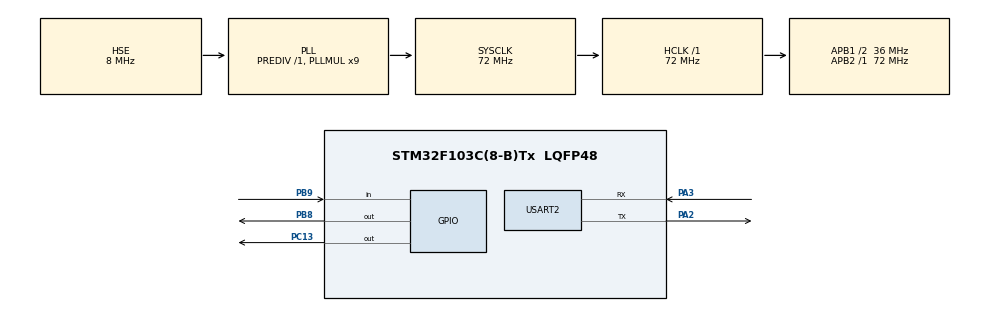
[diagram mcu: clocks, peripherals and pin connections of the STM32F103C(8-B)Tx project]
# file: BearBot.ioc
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Mcu.Family=STM32F1
Mcu.Name=STM32F103C(8-B)Tx
Mcu.Package=LQFP48
NVIC.PriorityGroup=NVIC_PRIORITYGROUP_4
PA13.Mode=Serial_Wire
PA13.Signal=SYS_JTMS-SWDIO
PA14.Mode=Serial_Wire
PA14.Signal=SYS_JTCK-SWCLK
PA2.Mode=Asynchronous
PA2.Signal=USART2_TX
PA3.Mode=Asynchronous
PA3.Signal=USART2_RX
PA8.Signal=S_TIM1_CH1
PB8.Signal=GPIO_Output
PB9.Signal=GPIO_Input
PC13-TAMPER-RTC.Signal=GPIO_Output
PD0-OSC_IN.Mode=HSE-External-Oscillator
PD0-OSC_IN.Signal=RCC_OSC_IN
PD1-OSC_OUT.Mode=HSE-External-Oscillator
PD1-OSC_OUT.Signal=RCC_OSC_OUT
ProjectManager.HeapSize=0x200
ProjectManager.StackSize=0x400
ProjectManager.TargetToolchain=STM32CubeIDE
RCC.AHBFreq_Value=72000000
RCC.APB1CLKDivider=RCC_HCLK_DIV2
RCC.APB1Freq_Value=36000000
RCC.APB1TimFreq_Value=72000000
RCC.APB2Freq_Value=72000000
RCC.APB2TimFreq_Value=72000000
RCC.HCLKFreq_Value=72000000
RCC.PLLMUL=RCC_PLL_MUL9
RCC.PLLSourceVirtual=RCC_PLLSOURCE_HSE
RCC.SYSCLKFreq_VALUE=72000000
RCC.SYSCLKSource=RCC_SYSCLKSOURCE_PLLCLK
RCC.USBFreq_Value=72000000
SH.S_TIM1_CH1.0=TIM1_CH1
TIM1.Period=0xffff-1
TIM1.Prescaler=72 - 1
USART2.VirtualMode=VM_ASYNC
VP_TIM1_VS_ClockSourceINT.Mode=Internal
board=custom

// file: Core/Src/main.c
/* USER CODE BEGIN Header */
/**
  ******************************************************************************
  * @file           : main.c
  * @brief          : Main program body
  ******************************************************************************
  * @attention
  *
  * Copyright (c) 2026 STMicroelectronics.
  * All rights reserved.
  *
  * This software is licensed under terms that can be found in the LICENSE file
  * in the root directory of this software component.
  * If no LICENSE file comes with this software, it is provided AS-IS.
  *
  ******************************************************************************
  */
/* USER CODE END Header */
#include "main.h"

TIM_HandleTypeDef htim1;

UART_HandleTypeDef huart2;

/* USER CODE BEGIN PV */
#define TRIG_PIN GPIO_PIN_9
#define TRIG_PORT GPIOB
#define ECHO_PIN GPIO_PIN_8
#define ECHO_PORT GPIOB
#define LED_PIN GPIO_PIN_13
#define LED_PORT GPIOC
#define IR_PIN GPIO_PIN_11
#define IR_PORT GPIOB
uint32_t pMillis;
uint32_t Value1 = 0;
uint32_t Value2 = 1;
uint16_t Distance  = 0;
/* USER CODE END PV */

void SystemClock_Config(void);
static void MX_GPIO_Init(void);
static void MX_TIM1_Init(void);
static void MX_USART2_UART_Init(void);

int main(void)
{

  /* MCU Configuration--------------------------------------------------------*/

  /* Reset of all peripherals, Initializes the Flash interface and the Systick. */
  HAL_Init();

  /* Configure the system clock */
  SystemClock_Config();

  /* Initialize all configured peripherals */
  MX_GPIO_Init();
  MX_TIM1_Init();
  MX_USART2_UART_Init();
  /* USER CODE BEGIN 2 */
  HAL_TIM_Base_Start(&htim1);
  HAL_GPIO_WritePin(TRIG_PORT, TRIG_PIN, GPIO_PIN_RESET);
  uint8_t val = 0;
  HAL_UART_Transmit(&huart2, &val, 1, HAL_MAX_DELAY);

  /* USER CODE END 2 */

  /* Infinite loop */
  while (1)
  {

    /* USER CODE BEGIN 3 */
	  HAL_GPIO_WritePin(TRIG_PORT, TRIG_PIN, GPIO_PIN_SET);  // pull the TRIG pin HIGH
	  __HAL_TIM_SET_COUNTER(&htim1, 0);
	  while (__HAL_TIM_GET_COUNTER (&htim1) < 10);  // wait for 10 us
	  HAL_GPIO_WritePin(TRIG_PORT, TRIG_PIN, GPIO_PIN_RESET);  // pull the TRIG pin low

	  pMillis = __HAL_TIM_GET_COUNTER (&htim1); // used this to avoid infinite while loop  (for timeout)
	  // wait for the echo pin to go high
	  while (!(HAL_GPIO_ReadPin (ECHO_PORT, ECHO_PIN)) && pMillis + 3000 >  __HAL_TIM_GET_COUNTER (&htim1));
	  Value1 = __HAL_TIM_GET_COUNTER (&htim1);

	  pMillis = HAL_GetTick(); // used this to avoid infinite while loop (for timeout)
	  // wait for the echo pin to go low
	  while ((HAL_GPIO_ReadPin (ECHO_PORT, ECHO_PIN)) && pMillis + 5000 > __HAL_TIM_GET_COUNTER (&htim1));
	  Value2 = __HAL_TIM_GET_COUNTER (&htim1);

	  Distance = (Value2-Value1)* 0.034/2;
	  HAL_GPIO_TogglePin(LED_PORT, LED_PIN);

	  HAL_Delay(500);
  }
  /* USER CODE END 3 */
}

void SystemClock_Config(void)
{
  RCC_OscInitTypeDef RCC_OscInitStruct = {0};
  RCC_ClkInitTypeDef RCC_ClkInitStruct = {0};

  /** Initializes the RCC Oscillators according to the specified parameters
  * in the RCC_OscInitTypeDef structure.
  */
  RCC_OscInitStruct.OscillatorType = RCC_OSCILLATORTYPE_HSE;
  RCC_OscInitStruct.HSEState = RCC_HSE_ON;
  RCC_OscInitStruct.HSEPredivValue = RCC_HSE_PREDIV_DIV1;
  RCC_OscInitStruct.HSIState = RCC_HSI_ON;
  RCC_OscInitStruct.PLL.PLLState = RCC_PLL_ON;
  RCC_OscInitStruct.PLL.PLLSource = RCC_PLLSOURCE_HSE;
  RCC_OscInitStruct.PLL.PLLMUL = RCC_PLL_MUL9;
  if (HAL_RCC_OscConfig(&RCC_OscInitStruct) != HAL_OK)
  {
    Error_Handler();
  }

  /** Initializes the CPU, AHB and APB buses clocks
  */
  RCC_ClkInitStruct.ClockType = RCC_CLOCKTYPE_HCLK|RCC_CLOCKTYPE_SYSCLK
                              |RCC_CLOCKTYPE_PCLK1|RCC_CLOCKTYPE_PCLK2;
  RCC_ClkInitStruct.SYSCLKSource = RCC_SYSCLKSOURCE_PLLCLK;
  RCC_ClkInitStruct.AHBCLKDivider = RCC_SYSCLK_DIV1;
  RCC_ClkInitStruct.APB1CLKDivider = RCC_HCLK_DIV2;
  RCC_ClkInitStruct.APB2CLKDivider = RCC_HCLK_DIV1;

  if (HAL_RCC_ClockConfig(&RCC_ClkInitStruct, FLASH_LATENCY_2) != HAL_OK)
  {
    Error_Handler();
  }
}

static void MX_TIM1_Init(void)
{

  TIM_ClockConfigTypeDef sClockSourceConfig = {0};
  TIM_MasterConfigTypeDef sMasterConfig = {0};

  htim1.Instance = TIM1;
  htim1.Init.Prescaler = 72 - 1;
  htim1.Init.CounterMode = TIM_COUNTERMODE_UP;
  htim1.Init.Period = 0xffff-1;
  htim1.Init.ClockDivision = TIM_CLOCKDIVISION_DIV1;
  htim1.Init.RepetitionCounter = 0;
  htim1.Init.AutoReloadPreload = TIM_AUTORELOAD_PRELOAD_DISABLE;
  if (HAL_TIM_Base_Init(&htim1) != HAL_OK)
  {
    Error_Handler();
  }
  sClockSourceConfig.ClockSource = TIM_CLOCKSOURCE_INTERNAL;
  if (HAL_TIM_ConfigClockSource(&htim1, &sClockSourceConfig) != HAL_OK)
  {
    Error_Handler();
  }
  sMasterConfig.MasterOutputTrigger = TIM_TRGO_RESET;
  sMasterConfig.MasterSlaveMode = TIM_MASTERSLAVEMODE_DISABLE;
  if (HAL_TIMEx_MasterConfigSynchronization(&htim1, &sMasterConfig) != HAL_OK)
  {
    Error_Handler();
  }

}

static void MX_USART2_UART_Init(void)
{

  huart2.Instance = USART2;
  huart2.Init.BaudRate = 115200;
  huart2.Init.WordLength = UART_WORDLENGTH_8B;
  huart2.Init.StopBits = UART_STOPBITS_1;
  huart2.Init.Parity = UART_PARITY_NONE;
  huart2.Init.Mode = UART_MODE_TX_RX;
  huart2.Init.HwFlowCtl = UART_HWCONTROL_NONE;
  huart2.Init.OverSampling = UART_OVERSAMPLING_16;
  if (HAL_UART_Init(&huart2) != HAL_OK)
  {
    Error_Handler();
  }

}

static void MX_GPIO_Init(void)
{
  GPIO_InitTypeDef GPIO_InitStruct = {0};

  /* GPIO Ports Clock Enable */
  __HAL_RCC_GPIOC_CLK_ENABLE();
  __HAL_RCC_GPIOD_CLK_ENABLE();
  __HAL_RCC_GPIOA_CLK_ENABLE();
  __HAL_RCC_GPIOB_CLK_ENABLE();

  /*Configure GPIO pin Output Level */
  HAL_GPIO_WritePin(GPIOC, GPIO_PIN_13, GPIO_PIN_RESET);

  /*Configure GPIO pin Output Level */
  HAL_GPIO_WritePin(GPIOB, GPIO_PIN_8, GPIO_PIN_RESET);

  /*Configure GPIO pin : PC13 */
  GPIO_InitStruct.Pin = GPIO_PIN_13;
  GPIO_InitStruct.Mode = GPIO_MODE_OUTPUT_PP;
  GPIO_InitStruct.Pull = GPIO_NOPULL;
  GPIO_InitStruct.Speed = GPIO_SPEED_FREQ_LOW;
  HAL_GPIO_Init(GPIOC, &GPIO_InitStruct);

  /*Configure GPIO pin : PB8 */
  GPIO_InitStruct.Pin = GPIO_PIN_8;
  GPIO_InitStruct.Mode = GPIO_MODE_OUTPUT_PP;
  GPIO_InitStruct.Pull = GPIO_NOPULL;
  GPIO_InitStruct.Speed = GPIO_SPEED_FREQ_LOW;
  HAL_GPIO_Init(GPIOB, &GPIO_InitStruct);

  /*Configure GPIO pin : PB9 */
  GPIO_InitStruct.Pin = GPIO_PIN_9;
  GPIO_InitStruct.Mode = GPIO_MODE_INPUT;
  GPIO_InitStruct.Pull = GPIO_NOPULL;
  HAL_GPIO_Init(GPIOB, &GPIO_InitStruct);

}

void Error_Handler(void)
{
  __disable_irq();
  while (1)
  {
  }
}
